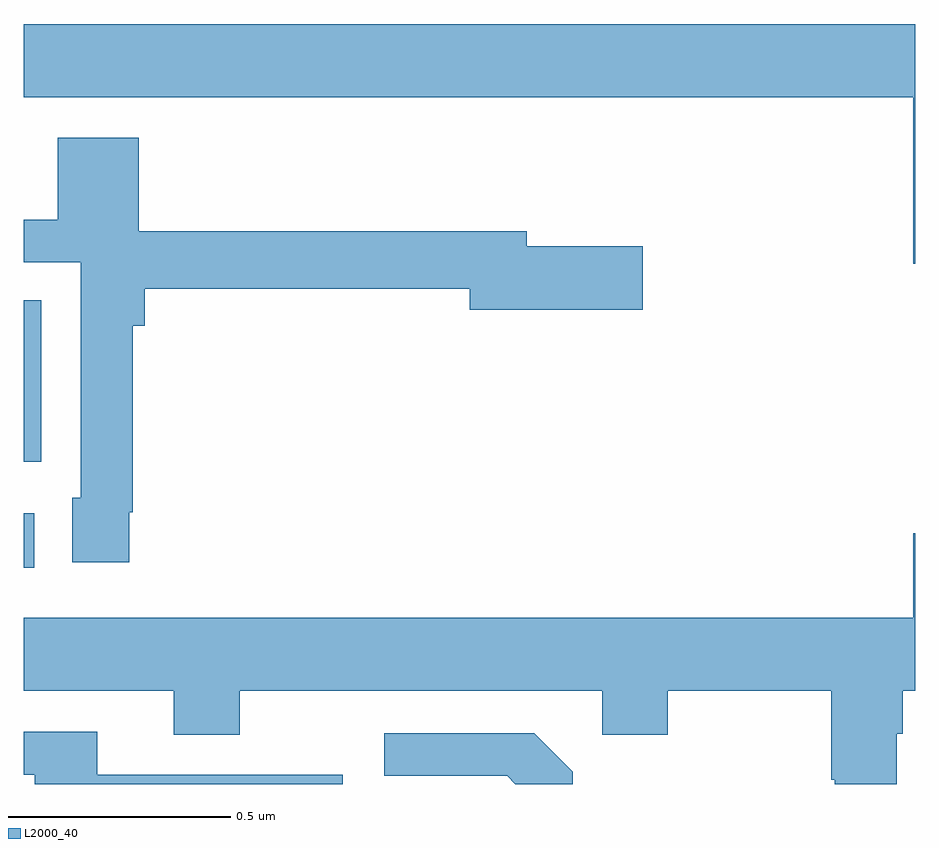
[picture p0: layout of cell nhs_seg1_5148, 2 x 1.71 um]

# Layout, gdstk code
import gdstk
lib = gdstk.Library(unit=1e-6, precision=1e-09)
def R(c, l, rs):  # rectangles x0, y0, x1, y1
    for r in rs: c.add(gdstk.rectangle(r[:2], r[2:], *l))
def P(c, l, *ps):  # polygons
    for p in ps: c.add(gdstk.Polygon(p, *l))
L2000_40 = (2000, 40)

nhs_seg1_5148 = lib.new_cell('nhs_seg1_5148')
R(nhs_seg1_5148, L2000_40, [(175,542.684,175.024,542.806), (175,542.922,175.039,543.284)])
P(nhs_seg1_5148, L2000_40, [(177,543.904),(175,543.904),(175,543.74),(176.996,543.74),(176.996,543.366),(177,543.366)],
  [(175.237,542.809),(175.244,542.809),(175.244,543.227),(175.271,543.227),(175.271,543.31),(176,543.31),(176,543.263),(176.389,543.263),(176.389,543.405),(176.128,543.405),(176.128,543.439),(175.258,543.439),(175.258,543.649),(175.076,543.649),(175.076,543.465),(175,543.465),(175,543.369),(175.128,543.369),(175.128,542.841),(175.109,542.841),(175.109,542.697),(175.237,542.697)],
  [(176.959,542.312),(176.972,542.312),(176.972,542.408),(177,542.408),(177,542.761),(176.996,542.761),(176.996,542.572),(175,542.572),(175,542.408),(175.337,542.408),(175.337,542.309),(175.485,542.309),(175.485,542.408),(176.298,542.408),(176.298,542.309),(176.445,542.309),(176.445,542.408),(176.812,542.408),(176.812,542.209),(176.819,542.209),(176.819,542.199),(176.959,542.199)],
  [(175.716,542.22),(175.165,542.22),(175.165,542.316),(175,542.316),(175,542.22),(175.025,542.22),(175.025,542.199),(175.716,542.199)],
  [(176.232,542.226),(176.145,542.313),(175.809,542.313),(175.809,542.217),(176.085,542.217),(176.103,542.199),(176.232,542.199)])

lib.write_gds('nhs_seg1_5148.gds')
